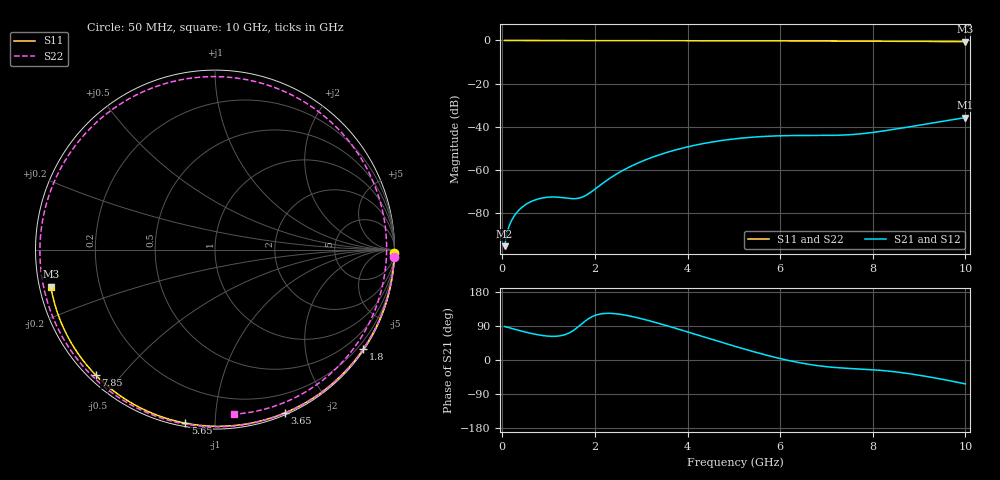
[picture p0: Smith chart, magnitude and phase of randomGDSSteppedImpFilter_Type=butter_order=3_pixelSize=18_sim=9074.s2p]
! freq	dB(S11)	phase(S11)	dB(S12)	phase(S12)
!  dB(S21)	phase(S21)	dB(S22)	phase(S22)
!S-par simulation data
#  GHz  S  DB  R 50
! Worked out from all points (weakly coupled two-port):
!   200 points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, 50 MHz to 10 GHz, reference 50 ohm
!   highest |S21| = -35.75 dB at 10 GHz (marker M1); lowest = -95.4 dB at 50 MHz (marker M2)
!   lowest |S11| = -0.6 dB at 10 GHz (marker M3), VSWR 31.11, Z = 1.63 - j5.55 ohm
!   |S11| at or under -10 dB: nowhere
!   |S22| runs from -0.7 to 0.0 dB; largest |S21 - S12| = 0
!   S11 on the Smith chart (normalised r, x): 50 MHz: open; 1.8 GHz: 0.03, -3.28; 3.65 GHz: 0.02, -1.52; 5.65 GHz: 0.02, -0.84; 7.85 GHz: 0.02, -0.43; 10 GHz: 0.03, -0.11
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0.05  -0.00 -1.0  -95.44 88.3  -95.44 88.3  -0.00 -2.5
0.3  -0.01 -5.7  -80.15 80.0  -80.15 80.0  -0.02 -14.9
0.6  -0.02 -11.4  -74.97 70.9  -74.97 70.9  -0.04 -29.7
1  -0.02 -19.0  -72.69 62.9  -72.69 62.9  -0.06 -49.2
1.4  -0.03 -26.5  -73.17 69.0  -73.17 69.0  -0.08 -68.3
1.75  -0.04 -33.0  -72.46 98.9  -72.46 98.9  -0.10 -84.7
1.8  -0.04 -33.9  -71.92 103.7  -71.92 103.7  -0.11 -87.0
2.15  -0.05 -40.3  -66.55 122.1  -66.55 122.1  -0.13 -103.1
2.55  -0.06 -47.5  -60.93 120.6  -60.93 120.6  -0.15 -121.2
3  -0.07 -55.5  -56.20 109.1  -56.20 109.1  -0.17 -141.4
3.4  -0.08 -62.5  -52.99 95.9  -52.99 95.9  -0.19 -159.4
3.65  -0.09 -66.8  -51.33 87.0  -51.33 87.0  -0.20 -170.7
4.35  -0.11 -78.6  -47.79 61.0  -47.79 61.0  -0.24 157.1
5.05  -0.14 -90.1  -45.57 35.1  -45.57 35.1  -0.29 123.6
5.65  -0.17 -99.7  -44.52 14.5  -44.52 14.5  -0.32 94.1
6.15  -0.19 -107.5  -44.15 -0.4  -44.15 -0.4  -0.33 69.4
6.7  -0.23 -116.0  -44.09 -13.0  -44.09 -13.0  -0.35 42.8
7.25  -0.27 -124.5  -43.98 -20.4  -43.98 -20.4  -0.37 17.4
7.85  -0.32 -133.6  -43.07 -24.5  -43.07 -24.5  -0.40 -8.3
8.35  -0.36 -141.3  -41.59 -29.4  -41.59 -29.4  -0.44 -27.9
9.15  -0.45 -153.7  -38.80 -43.2  -38.80 -43.2  -0.53 -56.2
10  -0.56 -167.3  -35.75 -63.2  -35.75 -63.2  -0.70 -83.3
